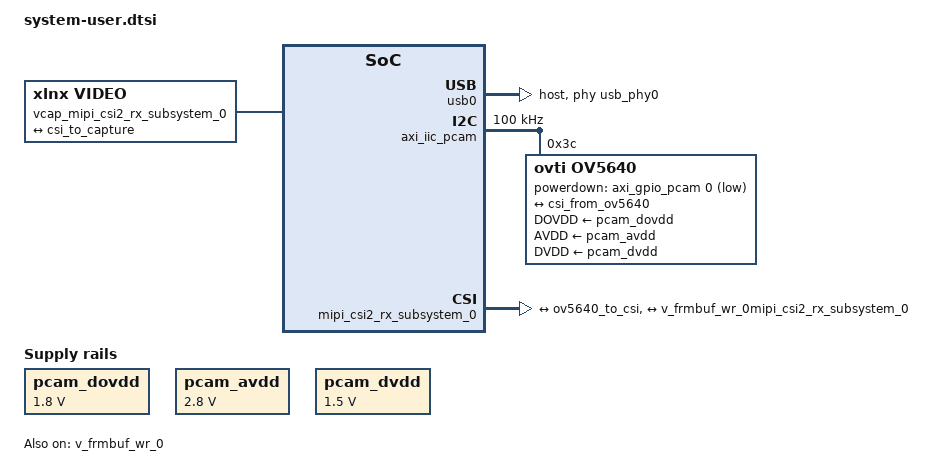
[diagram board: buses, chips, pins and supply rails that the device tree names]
/include/ "system-conf.dtsi"
#include <dt-bindings/gpio/gpio.h>

/ {
  usb_phy0: usb-phy@0 {
    compatible = "ulpi-phy";
    #phy-cells = <0>;
    reg = <0xe0002000 0x1000>;
    view-port = <0x0170>;
    drv-vbus;
  };

  pcam_xclk: pcam-xclk {
    compatible = "fixed-clock";
    #clock-cells = <0>;
    clock-frequency = <12000000>;
  };

  pcam_dovdd: pcam-dovdd {
    compatible = "regulator-fixed";
    regulator-name = "pcam-dovdd";
    regulator-min-microvolt = <1800000>;
    regulator-max-microvolt = <1800000>;
  };

  pcam_avdd: pcam-avdd {
    compatible = "regulator-fixed";
    regulator-name = "pcam-avdd";
    regulator-min-microvolt = <2800000>;
    regulator-max-microvolt = <2800000>;
  };

  pcam_dvdd: pcam-dvdd {
    compatible = "regulator-fixed";
    regulator-name = "pcam-dvdd";
    regulator-min-microvolt = <1500000>;
    regulator-max-microvolt = <1500000>;
  };

  /* V4L2 capture master.  The frame-buffer writer is the DMA endpoint;
   * describing only a graph port below v_frmbuf_wr does not instantiate
   * /dev/video0 on Linux 6.12. */
  vcap_mipi_csi2_rx_subsystem_0: vcap-mipi-csi2-rx-subsystem-0 {
    compatible = "xlnx,video";
    dmas = <&v_frmbuf_wr_0 0>;
    dma-names = "port0";

    ports {
      #address-cells = <1>;
      #size-cells = <0>;

      port@0 {
        reg = <0>;
        direction = "input";
        v_frmbuf_wr_0mipi_csi2_rx_subsystem_0: endpoint {
          remote-endpoint = <&csi_to_capture>;
        };
      };
    };
  };
};

&usb0 {
  status = "okay";
  dr_mode = "host";
  usb-phy = <&usb_phy0>;
};

&axi_iic_pcam {
  status = "okay";
  clock-frequency = <100000>;

  ov5640: camera@3c {
    compatible = "ovti,ov5640";
    reg = <0x3c>;
    clocks = <&pcam_xclk>;
    clock-names = "xclk";
    DOVDD-supply = <&pcam_dovdd>;
    AVDD-supply = <&pcam_avdd>;
    DVDD-supply = <&pcam_dvdd>;

    /* Zybo G20 drives the Pcam 5C PWUP input.  The upstream OV5640
     * binding names this logical signal powerdown; active-low maps
     * power-down to physical PWUP-low. */
    powerdown-gpios = <&axi_gpio_pcam 0 GPIO_ACTIVE_LOW>;

    port {
      ov5640_to_csi: endpoint {
        remote-endpoint = <&csi_from_ov5640>;
        clock-lanes = <0>;
        data-lanes = <1 2>;
        /* 2 * 168 MHz DDR = 336 Mb/s on each CSI-2 lane. */
        link-frequencies = /bits/ 64 <168000000>;
      };
    };
  };
};

&mipi_csi2_rx_subsystem_0 {
  status = "okay";
  xlnx,max-lanes = <2>;
  xlnx,dphy-present;
  xlnx,vc = <4>;
  /* Linux 6.12 Xilinx CSI-2 RX maps datatype 0x1e to
   * MEDIA_BUS_FMT_UYVY8_1X16. */
  xlnx,csi-pxl-format = <0x1e>;
  xlnx,vfb;
  xlnx,ppc = <1>;

  ports {
    #address-cells = <1>;
    #size-cells = <0>;

    port@0 {
      reg = <0>;
      csi_from_ov5640: endpoint {
        remote-endpoint = <&ov5640_to_csi>;
        data-lanes = <1 2>;
        link-frequencies = /bits/ 64 <168000000>;
      };
    };

    port@1 {
      reg = <1>;
      csi_to_capture: endpoint {
        /* DTG collapses the PL-direct normalizer/16-to-128/AES-GCM/
         * 128-to-16/width-adapter/CDC chain into this capture endpoint. */
        remote-endpoint = <&v_frmbuf_wr_0mipi_csi2_rx_subsystem_0>;
      };
    };
  };
};

&axi_gpio_frmbuf_reset {
  status = "okay";
  gpio-controller;
  #gpio-cells = <2>;
  xlnx,dout-default = <0x00000001>;
};

&v_frmbuf_wr_0 {
  compatible = "xlnx,v-frmbuf-wr-v3.0", "xlnx,axi-frmbuf-wr-v2.2";
  status = "okay";
  #dma-cells = <1>;
  clock-names = "ap_clk";
  reset-gpios = <&axi_gpio_frmbuf_reset 0 GPIO_ACTIVE_LOW>;
  xlnx,dma-addr-width = <32>;
  /* Keep one packed, one-plane userspace buffer.  In SW3 encryption mode
   * this buffer contains ciphertext already produced by PL, never the
   * camera plaintext that entered the MIPI receiver. */
  xlnx,vid-formats = "yuyv";
  xlnx,pixels-per-clock = <1>;
  xlnx,dma-align = <16>;
  xlnx,max-height = <720>;
  xlnx,max-width = <1280>;

};
